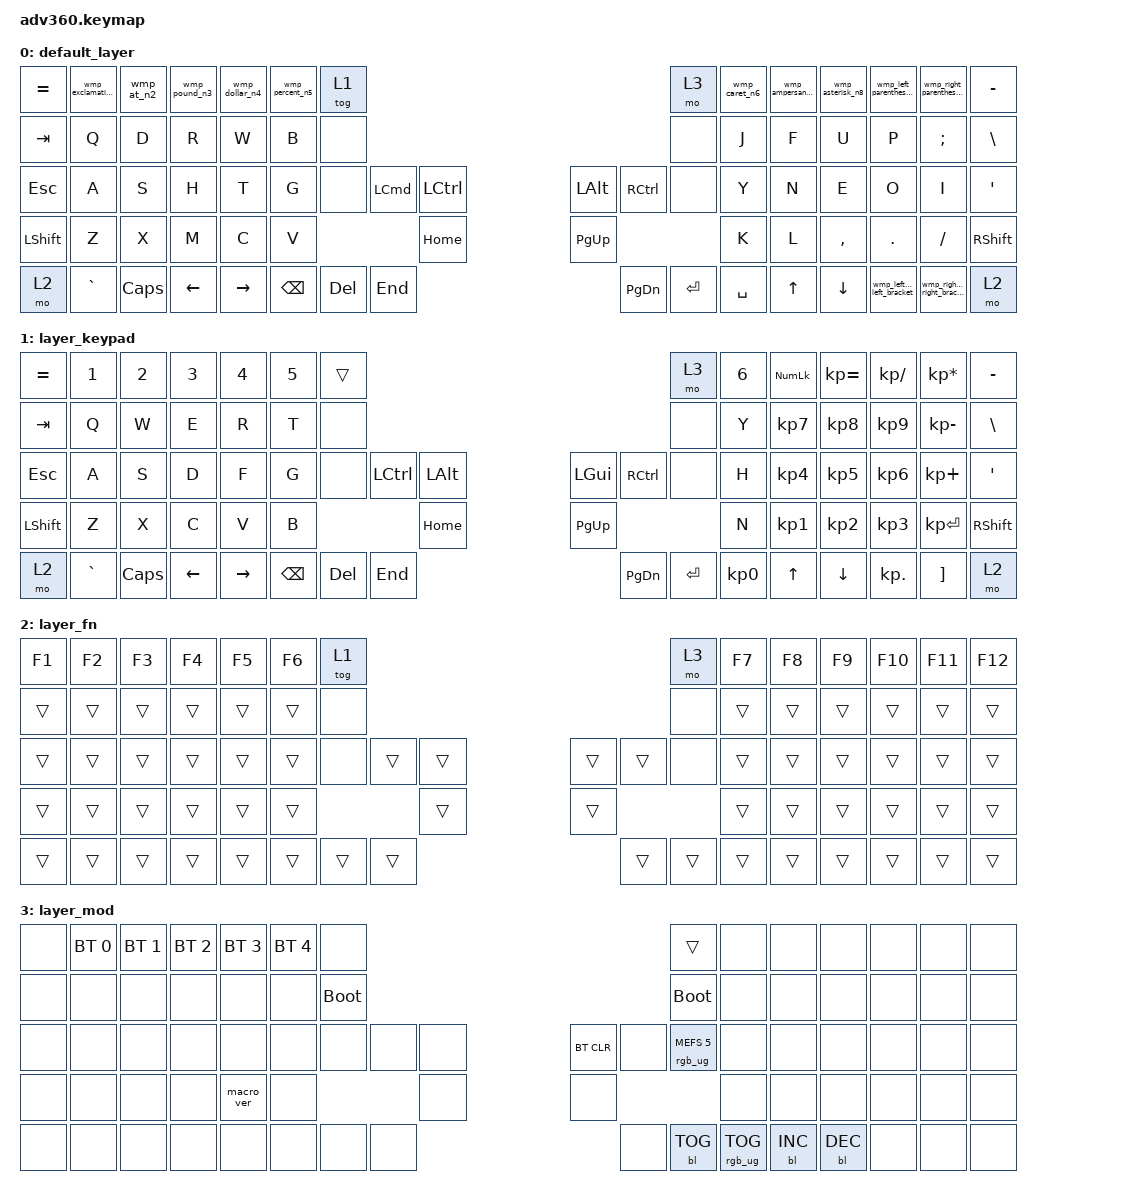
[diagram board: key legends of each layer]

/*
 * Copyright (c) 2020 The ZMK Contributors
 *
 * SPDX-License-Identifier: MIT
 */


/* THIS FILE WAS GENERATED!
 *
 * This file was generated automatically. You may or may not want to
 * edit it directly.
 */

#include <behaviors.dtsi>
#include <dt-bindings/zmk/keys.h>
#include <dt-bindings/zmk/bt.h>
#include <dt-bindings/zmk/rgb.h>
#include <dt-bindings/zmk/backlight.h>

/ {
  behaviors {
    #include "macros.dtsi"
    #include "version.dtsi"

    hm: homerow_mods {
        compatible = "zmk,behavior-hold-tap";
        label = "HOMEROW_MODS";
        #binding-cells = <2>;
        tapping-term-ms = <200>;
        quick_tap_ms = <175>;
        flavor = "tap-preferred";
        bindings = <&kp>, <&kp>;
    };
  };

    keymap {
        compatible = "zmk,keymap";


        default_layer {
            bindings = <
 &kp EQUAL  &wmp_exclamation_n1  &wmp_at_n2  &wmp_pound_n3  &wmp_dollar_n4  &wmp_percent_n5              &tog 1                                                                                &mo 3  &wmp_caret_n6  &wmp_ampersand_n7  &wmp_asterisk_n8      &wmp_left_parenthesis_n9       &wmp_right_parenthesis_n0  &kp MINUS
   &kp TAB                &kp Q       &kp D          &kp R           &kp W            &kp B               &none                                                                                &none          &kp J              &kp F             &kp U                         &kp P                   &kp SEMICOLON   &kp BSLH
   &kp ESC                &kp A       &kp S          &kp H           &kp T            &kp G               &none  &kp LEFT_COMMAND  &kp LEFT_CONTROL                   &kp LALT  &kp RCTRL      &none          &kp Y              &kp N             &kp E                         &kp O                           &kp I    &kp SQT
 &kp LSHFT                &kp Z       &kp X          &kp M           &kp C            &kp V                                                &kp HOME                  &kp PG_UP                                &kp K              &kp L         &kp COMMA                       &kp DOT                        &kp FSLH  &kp RSHFT
     &mo 2            &kp GRAVE    &kp CAPS       &kp LEFT       &kp RIGHT                             &kp BSPC           &kp DEL           &kp END                  &kp PG_DN  &kp ENTER  &kp SPACE                            &kp UP          &kp DOWN  &wmp_left_brace_left_bracket  &wmp_right_brace_right_bracket      &mo 2
            >;
        };

        layer_keypad {
            bindings = <
 &kp EQUAL     &kp N1    &kp N2    &kp N3     &kp N4  &kp N5              &trans                                                                 &mo 3  &kp N6  &kp KP_NUM  &kp KP_EQUAL  &kp KP_DIVIDE  &kp KP_MULTIPLY  &kp MINUS
   &kp TAB      &kp Q     &kp W     &kp E      &kp R   &kp T               &none                                                                 &none   &kp Y   &kp KP_N7     &kp KP_N8      &kp KP_N9     &kp KP_MINUS   &kp BSLH
   &kp ESC      &kp A     &kp S     &kp D      &kp F   &kp G               &none  &kp LCTRL  &kp LALT                   &kp LGUI  &kp RCTRL      &none   &kp H   &kp KP_N4     &kp KP_N5      &kp KP_N6      &kp KP_PLUS    &kp SQT
 &kp LSHFT      &kp Z     &kp X     &kp C      &kp V   &kp B                                 &kp HOME                  &kp PG_UP                         &kp N   &kp KP_N1     &kp KP_N2      &kp KP_N3     &kp KP_ENTER  &kp RSHFT
     &mo 2  &kp GRAVE  &kp CAPS  &kp LEFT  &kp RIGHT                    &kp BSPC    &kp DEL   &kp END                  &kp PG_DN  &kp ENTER  &kp KP_N0              &kp UP      &kp DOWN     &kp KP_DOT         &kp RBKT      &mo 2
            >;
        };

        layer_fn {
            bindings = <
 &kp F1  &kp F2  &kp F3  &kp F4  &kp F5  &kp F6            &tog 1                                                   &mo 3  &kp F7  &kp F8  &kp F9  &kp F10  &kp F11  &kp F12
 &trans  &trans  &trans  &trans  &trans  &trans             &none                                                   &none  &trans  &trans  &trans   &trans   &trans   &trans
 &trans  &trans  &trans  &trans  &trans  &trans             &none  &trans  &trans                  &trans  &trans   &none  &trans  &trans  &trans   &trans   &trans   &trans
 &trans  &trans  &trans  &trans  &trans  &trans                            &trans                  &trans                  &trans  &trans  &trans   &trans   &trans   &trans
 &trans  &trans  &trans  &trans  &trans                    &trans  &trans  &trans                  &trans  &trans  &trans          &trans  &trans   &trans   &trans   &trans
            >;
        };

        layer_mod {
            bindings = <
  &none  &bt BT_SEL 0  &bt BT_SEL 1  &bt BT_SEL 2  &bt BT_SEL 3  &bt BT_SEL 4                  &none                                                                          &trans   &none       &none       &none   &none   &none   &none
  &none         &none         &none         &none         &none         &none            &bootloader                                                                     &bootloader   &none       &none       &none   &none   &none   &none
  &none         &none         &none         &none         &none         &none                  &none   &none   &none                  &bt BT_CLR       &none  &rgb_ug RGB_MEFS_CMD 5   &none       &none       &none   &none   &none   &none
  &none         &none         &none         &none    &macro_ver         &none                                  &none                       &none                                       &none       &none       &none   &none   &none   &none
  &none         &none         &none         &none         &none                                &none   &none   &none                       &none  &bl BL_TOG         &rgb_ug RGB_TOG          &bl BL_INC  &bl BL_DEC   &none   &none   &none
            >;
        };

    };
};
